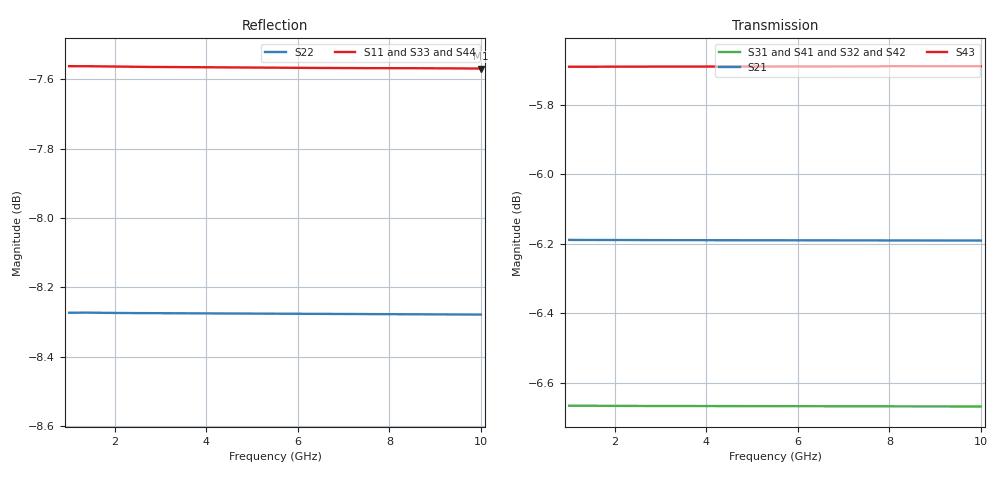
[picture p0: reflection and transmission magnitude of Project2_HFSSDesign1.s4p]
! Touchstone file exported from HFSS 2023.1.0
!  File:  C:/Users/luhta/OneDrive/Documents/Ansoft/Project2.aedt
!  Generated:  6:39:57 PM  Mar 15, 2025
!  Design:  HFSSDesign1
!  Project:  Project2
!  Setup:  Setup1
!  Solution:  Sweep
# GHz S MA R 50.000000
! Terminal data exported
! Port[1] = stripline1_T1
! Port[2] = stripline1_T2
! Port[3] = stripline1_T3
! Port[4] = stripline1_T4
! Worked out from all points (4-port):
!   501 points, 1 GHz to 10 GHz, reference 50 ohm
!   strongest paths, dB at 1 GHz, 3.25 GHz, 5.5 GHz, 7.75 GHz, 10 GHz:
!     S43: -5.7, -5.7, -5.7, -5.7, -5.7
!     S21: -6.2, -6.2, -6.2, -6.2, -6.2
!     S31: -6.7, -6.7, -6.7, -6.7, -6.7
!     S41: -6.7, -6.7, -6.7, -6.7, -6.7
!     S32: -7.0, -7.0, -7.0, -7.0, -7.0
!     S42: -7.0, -7.0, -7.0, -7.0, -7.0
!   lowest |S11| = -7.6 dB at 10 GHz (marker M1), VSWR 2.44, Z = 20.5 + j0.0563 ohm
!   |S11| at or under -10 dB: nowhere
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1  0.4187 180.0  0.4904 -0.0  0.4642 -0.0  0.4641 -0.0
   0.4904 -0.0  0.3858 180.0  0.4477 -0.0  0.4477 -0.0
   0.4642 -0.0  0.4477 -0.0  0.4313 180.0  0.5194 0.0
   0.4641 -0.0  0.4477 -0.0  0.5194 0.0  0.4312 180.0
1.36  0.4187 180.0  0.4904 -0.0  0.4642 -0.0  0.4641 -0.0
      0.4904 -0.0  0.3858 180.0  0.4477 -0.0  0.4477 -0.0
      0.4642 -0.0  0.4477 -0.0  0.4313 180.0  0.5194 0.0
      0.4641 -0.0  0.4477 -0.0  0.5194 0.0  0.4312 180.0
3.682  0.4185 179.9  0.4904 -0.0  0.4641 -0.0  0.464 -0.0
       0.4904 -0.0  0.3857 179.9  0.4477 -0.0  0.4476 -0.1
       0.4641 -0.0  0.4477 -0.0  0.4313 180.0  0.5194 0.0
       0.464 -0.0  0.4476 -0.1  0.5194 0.0  0.4311 180.0
7.57  0.4184 179.9  0.4903 -0.1  0.4641 -0.1  0.464 -0.1
      0.4903 -0.1  0.3856 179.8  0.4477 -0.1  0.4476 -0.1
      0.4641 -0.1  0.4477 -0.1  0.4312 179.9  0.5195 0.0
      0.464 -0.1  0.4476 -0.1  0.5195 0.0  0.431 179.9
7.912  0.4184 179.9  0.4903 -0.1  0.4641 -0.1  0.464 -0.1
       0.4903 -0.1  0.3856 179.8  0.4477 -0.1  0.4476 -0.1
       0.4641 -0.1  0.4477 -0.1  0.4313 179.9  0.5195 0.0
       0.464 -0.1  0.4476 -0.1  0.5195 0.0  0.4311 179.9
8.434  0.4184 179.9  0.4903 -0.1  0.4641 -0.1  0.464 -0.1
       0.4903 -0.1  0.3856 179.8  0.4477 -0.1  0.4476 -0.1
       0.4641 -0.1  0.4477 -0.1  0.4312 179.9  0.5195 0.0
       0.464 -0.1  0.4476 -0.1  0.5195 0.0  0.4311 179.9
10  0.4183 179.8  0.4903 -0.1  0.4641 -0.1  0.464 -0.1
    0.4903 -0.1  0.3856 179.8  0.4477 -0.1  0.4476 -0.1
    0.4641 -0.1  0.4477 -0.1  0.4312 179.9  0.5195 0.0
    0.464 -0.1  0.4476 -0.1  0.5195 0.0  0.431 179.9
